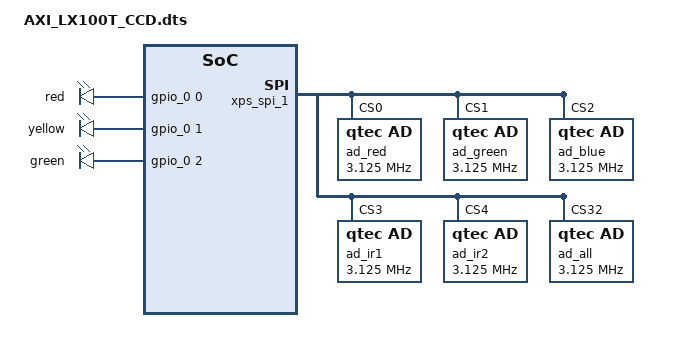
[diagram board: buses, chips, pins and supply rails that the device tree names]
/dts-v1/;

/include/ "qt5023.dtsi"

&axi1 {
		sensor: sensor {
			q5,nccd=<3>;
			q5,inverted=<0>;
			q5,bayer=<0>;
			q5,hitachi_ccd = <0>;
			q5,clock_and_data = <0>;
		};

		xps_spi_1: spi-ad {
			#address-cells = <1>;
			#size-cells = <1>;
			compatible = "xlnx,xps-spi-2.00.b";
			reg = < 0x300a0000 0x10000 >;
			interrupt-parent = <&xps_intc_0>;
			interrupts = < 4 2 >;
			xlnx,fifo-exist = <0x1>;
			num-cs = <33>;
			xlnx,num-transfer-bits = <0x8>;
			xlnx,sck-ratio = <0x20>;

			ad_red:ad_red {
				compatible = "qtec,ad";
				reg = < 0 0>;
				spi-max-frequency = <3125000>;
				spi-cpha;
				spi-cpol;
				spi-lsb-first;
				spi-loop;
			} ;
			ad_green:ad_green {
				compatible = "qtec,ad";
				reg = < 1 1>;
				spi-max-frequency = <3125000>;
				spi-cpha;
				spi-cpol;
				spi-lsb-first;
				spi-loop;
			} ;
			ad_blue:ad_blue {
				compatible = "qtec,ad";
				reg = < 2 2>;
				spi-max-frequency = <3125000>;
				spi-cpha;
				spi-cpol;
				spi-lsb-first;
				spi-loop;
			} ;
			ad_ir1:ad_ir1 {
				compatible = "qtec,ad";
				reg = < 3 3>;
				spi-max-frequency = <3125000>;
				spi-cpha;
				spi-cpol;
				spi-lsb-first;
				spi-loop;
			} ;
			ad_ir2:ad_ir2 {
				compatible = "qtec,ad";
				reg = < 4 4>;
				spi-max-frequency = <3125000>;
				spi-cpha;
				spi-cpol;
				spi-lsb-first;
				spi-loop;
			} ;
			ad_all:ad_all {
				compatible = "qtec,ad";
				reg = < 32 32>;
				spi-cpha;
				spi-cpol;
				spi-lsb-first;
				spi-loop;
				spi-max-frequency = <3125000>;
			} ;
		} ;
		qtec_trigger_0: qtec_trigger_0 {
			#address-cells = <1>;
			#size-cells = <1>;
			reg = < 0x30090000 0x1000 >;
		     	compatible = "qtec,axi-trigger-unit-1.00.a";
	     	};
		qtec_timegen_0:qtec_timegen_0 {
			address-cells = <1>;
			#size-cells = <1>;
		     	compatible = "qtec,axi-ccd-timing-gen-1.00.a";
			reg = < 0x300f0000 0x10000 >;
		};
		qtec_bayer_0:qtec_bayer_0 {
			#address-cells = <1>;
			#size-cells = <1>;
		     	compatible = "qtec,axi-fb-bayer-interpol-1.00.a";
			reg = < 0x300d0000 0x10000 >;
		};
		pll_0: pll_0 {
			#address-cells = <1>;
			#size-cells = <1>;
		    	compatible = "qtec,axi_pll-1.00.a";
			reg = < 0x300b0000 0x1000 >;
	    	};
		ccd_fg_0: ccd_fg_0 {
			#address-cells = <1>;
			#size-cells = <1>;
		       	compatible = "qtec,axi-framebus-gen-1.00.a";
			reg = < 0x300c0000 0x10000 >;
			interrupt-parent = <&xps_intc_0>;
			interrupts = < 6 2 >;
			qtec,manual_sync=<1>;
			qtec,bayer_chip=<1>;
			qtec,n_ccd=<1>;
			qtec,pixel_clk=<32500000>;
			qtec,bus_clk=<85714285>;
			/*Subdevices*/
			qtec,ad_red = <&ad_red>;
			qtec,ad_green = <&ad_green>;
			qtec,ad_blue = <&ad_blue>;
			qtec,ad_ir1 = <&ad_ir1>;
			qtec,ad_ir2 = <&ad_ir2>;
			qtec,ad_all = <&ad_all>;
			qtec,trigger = <&qtec_trigger_0 >;
			qtec,timegen = <&qtec_timegen_0 >;
			qtec,bayer = <&qtec_bayer_0 >;
	        };
		white_0: white_0 {
			#address-cells = <1>;
			#size-cells = <1>;
		    	compatible = "qtec,axi_white_balance-1.00.a";
			reg = < 0x300e0000 0x1000 >;
	    	};
		xform_0: xform_0 {
			#address-cells = <1>;
			#size-cells = <1>;
			compatible = "qtec,axi_fb_img_xform-1.03.a";
			reg = < 0x32000000 0x10000 >;
			qtec,dist_mem = <&distortion_mem>;
			qtec,buffer_size_pixels=< 94208 >;
			interrupt-parent = <&xps_intc_0>;
			interrupts = < 8 2 >;
		};
		cdma_0: cdma_0{
			#address-cells = <1>;
			#size-cells = <1>;
		     	compatible = "xlnx,axi_cdma-3.04.a";
			reg = < 0x30050000 0x10000 >;
			interrupt-parent = <&xps_intc_0>;
			interrupts = < 3 2 >;
		};
		testgen_0: testgen_0{
			#address-cells = <1>;
			#size-cells = <1>;
		     	compatible = "qtec,axi_fb_testgen-1.00.a";
			reg = < 0x30070000 0x10000 >;
			qtec,test_mem = <&testgen_mem>;
			interrupt-parent = <&xps_intc_0>;
			interrupts = < 7 2 >;
		};
		encoder_0: encoder_0 {
			#address-cells = <1>;
			#size-cells = <1>;
			reg = < 0x30091000 0x1000 >;
			compatible = "qtec,axi-trigger-unit-1.00.a";
			qtec,clk = <85714285>;
		};
		packer_0: packer_0{
			#address-cells = <1>;
			#size-cells = <1>;
		     	compatible = "qtec,axi_matrix_packer-1.00.a";
			reg = < 0x30060000 0x10000 >;
			qtec,serial_number = "Invalid Head Serial Number";
			qtec,bitstream_version = < 0 >;
			qtec,head_i2c_address = < 0 >;
			qtec,cdma = <&cdma_0>;
			qtec,desc_mem= <&cdma_desc_mem>;
			qtec,pcie_bridge= <&pcie_bridge_0>;
			qtec,aperture-addr= < 0  4 >;
			qtec,circular_buffer= <&video_mem>;
			qtec,white_balance= <&white_0>;
			qtec,sensor = <&ccd_fg_0>;
			qtec,pll = < &pll_0 >;
			qtec,xform = <&xform_0>;
			qtec,testgen = <&testgen_0>;
			qtec,encoder = <&encoder_0>;
			interrupt-parent = <&xps_intc_0>;
			interrupts = < 5 2 >;
		};

		/*Leds*/
		leds {
			reg = < 0x30040000 010000 >;
			compatible = "gpio-leds";
			red {
				gpios = <&gpio_0 0 0>;
				linux,default-trigger = "drop-qt5023_video0";
			};
			yellow {
				gpios = <&gpio_0 1 0>;
				linux,default-trigger = "packer-qt5023_video0";
			};
			green {
				gpios = <&gpio_0 2 0>;
				linux,default-trigger = "heartbeat";
			};
		};

		gpio_0: gpio_0 {
			#gpio-cells = <2>;
			compatible = "xlnx,xps-gpio-1.00.a";
			reg = < 0x30040000 010000 >;
			xlnx,dout-default = < 0xffffffff >;
			xlnx,tri-default =  < 0xfffffff8 >;
			xlnx,gpio-width = < 5 >;
		};

		/*Memory resources*/
		cdma_desc_mem: cdma_desc_mem {
			#address-cells = <1>;
			#size-cells = <1>;
		     	compatible = "qtec,memory-pool-1.00a";
			reg = < 0x38000000 0x4000 >;
			reg-axi = < 0x38000000 0x4000 >;
		};
		video_mem: video_mem {
			#address-cells = <1>;
			#size-cells = <1>;
		     	compatible = "qtec,memory-pool-1.00a";
			reg = < 0x10000000 0x4000000 >;
			reg-axi = < 0x10000000 0x4000000>; //Duplicated
		};
		distortion_mem: distortion_mem {
			#address-cells = <1>;
			#size-cells = <1>;
		     	compatible = "qtec,memory-pool-1.00a";
			reg = < 0x14000000 0x2000000 >;
			reg-axi = < 0x14000000 0x2000000 >;
		};
		testgen_mem: testgen_mem {
			#address-cells = <1>;
			#size-cells = <1>;
		     	compatible = "qtec,memory-pool-1.00a";
			reg = < 0x16000000 0x2000000 >;
			reg-axi = < 0x16000000 0x2000000 >;
		};

	};
